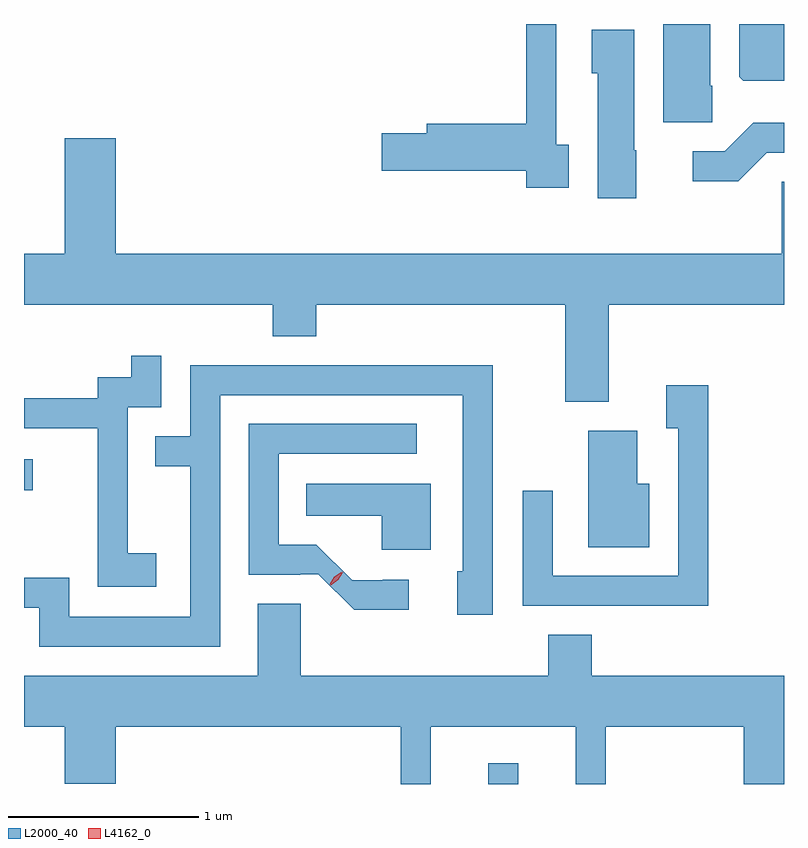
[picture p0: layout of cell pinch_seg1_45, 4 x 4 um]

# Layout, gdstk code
import gdstk
lib = gdstk.Library(unit=1e-6, precision=1e-09)
def R(c, l, rs):  # rectangles x0, y0, x1, y1
    for r in rs: c.add(gdstk.rectangle(r[:2], r[2:], *l))
def P(c, l, *ps):  # polygons
    for p in ps: c.add(gdstk.Polygon(p, *l))
L2000_40 = (2000, 40)
L4162_0 = (4162, 0)

pinch_seg1_45 = lib.new_cell('pinch_seg1_45')
R(pinch_seg1_45, L2000_40, [(1396.126,868.194,1396.284,868.303), (1393.682,869.741,1393.728,869.904)])
P(pinch_seg1_45, L2000_40, [(1397.682,872.194),(1397.446,872.194),(1397.446,871.917),(1397.467,871.896),(1397.682,871.896)],
  [(1396.549,871.559),(1396.484,871.559),(1396.484,872.194),(1396.326,872.194),(1396.326,871.669),(1395.801,871.669),(1395.801,871.619),(1395.566,871.619),(1395.566,871.421),(1396.326,871.421),(1396.326,871.331),(1396.549,871.331)],
  [(1397.304,871.87),(1397.294,871.87),(1397.294,872.194),(1397.046,872.194),(1397.046,871.676),(1397.304,871.676)],
  [(1396.904,871.53),(1396.894,871.53),(1396.894,872.164),(1396.671,872.164),(1396.671,871.936),(1396.701,871.936),(1396.701,871.276),(1396.904,871.276)],
  [(1397.592,871.516),(1397.682,871.516),(1397.682,871.674),(1397.519,871.674),(1397.369,871.524),(1397.203,871.524),(1397.203,871.366),(1397.442,871.366)],
  [(1396.759,870.716),(1397.682,870.716),(1397.682,871.364),(1397.671,871.364),(1397.671,870.984),(1394.164,870.984),(1394.164,871.594),(1393.896,871.594),(1393.896,870.984),(1393.682,870.984),(1393.682,870.716),(1394.991,870.716),(1394.991,870.551),(1395.219,870.551),(1395.219,870.716),(1396.531,870.716),(1396.531,870.206),(1396.759,870.206)],
  [(1394.379,869.409),(1394.229,869.409),(1394.229,870.176),(1394.404,870.176),(1394.404,870.448),(1394.246,870.448),(1394.246,870.334),(1394.071,870.334),(1394.071,870.224),(1393.682,870.224),(1393.682,870.066),(1394.071,870.066),(1394.071,869.231),(1394.379,869.231)],
  [(1394.714,870.241),(1395.991,870.241),(1395.991,869.314),(1395.961,869.314),(1395.961,869.086),(1396.149,869.086),(1396.149,870.399),(1394.556,870.399),(1394.556,870.024),(1394.373,870.024),(1394.373,869.866),(1394.556,869.866),(1394.556,869.074),(1393.919,869.074),(1393.919,869.279),(1393.682,869.279),(1393.682,869.121),(1393.761,869.121),(1393.761,868.916),(1394.714,868.916)],
  [(1397.284,870.294),(1397.061,870.294),(1397.061,870.066),(1397.126,870.066),(1397.126,869.289),(1396.464,869.289),(1396.464,869.738),(1396.306,869.738),(1396.306,869.131),(1397.284,869.131)],
  [(1395.708,869.269),(1395.57,869.269),(1395.57,869.266),(1395.409,869.266),(1395.221,869.454),(1395.024,869.454),(1395.024,869.931),(1395.748,869.931),(1395.748,870.089),(1394.866,870.089),(1394.866,869.296),(1395.135,869.296),(1395.135,869.299),(1395.231,869.299),(1395.419,869.111),(1395.708,869.111)],
  [(1396.974,869.774),(1396.909,869.774),(1396.909,870.054),(1396.651,870.054),(1396.651,869.441),(1396.974,869.441)],
  [(1395.824,869.774),(1395.168,869.774),(1395.168,869.606),(1395.566,869.606),(1395.566,869.426),(1395.824,869.426)],
  [(1395.824,868.496),(1396.586,868.496),(1396.586,868.194),(1396.744,868.194),(1396.744,868.496),(1397.471,868.496),(1397.471,868.194),(1397.682,868.194),(1397.682,868.764),(1396.669,868.764),(1396.669,868.979),(1396.441,868.979),(1396.441,868.764),(1395.139,868.764),(1395.139,869.144),(1394.911,869.144),(1394.911,868.764),(1393.682,868.764),(1393.682,868.496),(1393.896,868.496),(1393.896,868.196),(1394.164,868.196),(1394.164,868.496),(1395.666,868.496),(1395.666,868.194),(1395.824,868.194)])
P(pinch_seg1_45, L4162_0, [(1395.294,869.237),(1395.294,869.238),(1395.321,869.281),(1395.362,869.312),(1395.362,869.312),(1395.362,869.311),(1395.336,869.268),(1395.295,869.237)],
  [(1395.292,869.245),(1395.292,869.246),(1395.316,869.286),(1395.354,869.312),(1395.354,869.312),(1395.354,869.311),(1395.331,869.272),(1395.293,869.245)])

lib.write_gds('pinch_seg1_45.gds')
